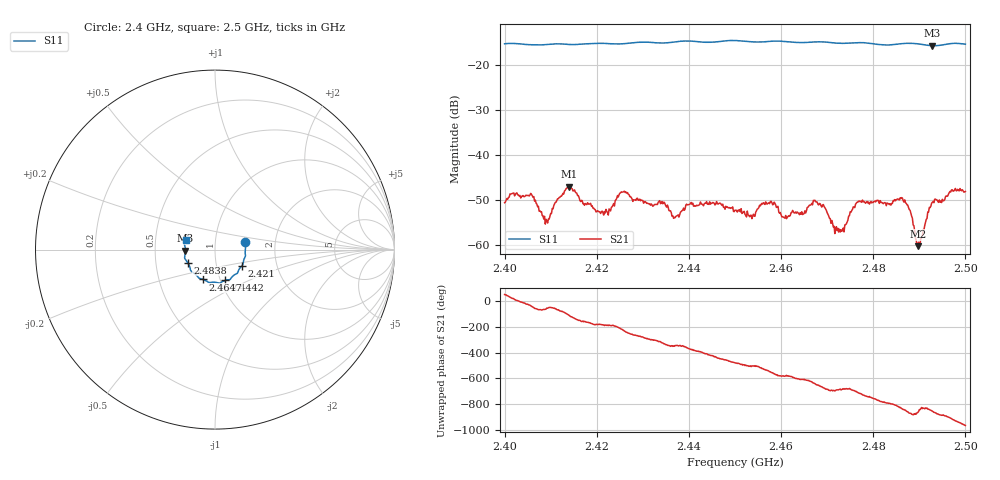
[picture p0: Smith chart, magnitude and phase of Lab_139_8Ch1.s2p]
# Hz S RI R 50
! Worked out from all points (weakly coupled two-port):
!   601 points, 2.4 GHz to 2.5 GHz, reference 50 ohm
!   highest |S21| = -47.01 dB at 2.414 GHz (marker M1); lowest = -60.3 dB at 2.4897 GHz (marker M2)
!   lowest |S11| = -15.6 dB at 2.4928 GHz (marker M3), VSWR 1.40, Z = 35.8 - j0.417 ohm
!   |S11| at or under -10 dB: start of sweep to end of sweep
!   S12 and S22 are empty: the file has one direction only
!   S11 on the Smith chart (normalised r, x): 2.4 GHz: 1.40, +0.12; 2.421 GHz: 1.33, -0.24; 2.4442 GHz: 1.05, -0.37; 2.4647 GHz: 0.83, -0.29; 2.4838 GHz: 0.73, -0.11; 2.5 GHz: 0.71, +0.08
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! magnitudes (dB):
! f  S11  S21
! 2.4 GHz  -15.2  -50.6
! 2.4058 GHz  -15.4  -48.7
! 2.4093 GHz  -15.3  -55.1
! 2.414 GHz  -15.4  -47.0
! 2.4167 GHz  -15.3  -50.1
! 2.421 GHz  -15.1  -52.6
! 2.4255 GHz  -15.2  -48.2
! 2.4333 GHz  -15.0  -50.5
! 2.4368 GHz  -14.8  -53.9
! 2.4442 GHz  -14.9  -50.8
! 2.45 GHz  -14.5  -52.2
! 2.4575 GHz  -14.7  -50.8
! 2.4647 GHz  -14.9  -53.2
! 2.4667 GHz  -14.8  -50.7
! 2.4727 GHz  -15.1  -56.5
! 2.4768 GHz  -15.0  -50.2
! 2.4833 GHz  -15.5  -50.8
! 2.4838 GHz  -15.5  -51.1
! 2.4873 GHz  -15.1  -51.1
! 2.4897 GHz  -15.2  -60.3
! 2.4928 GHz  -15.6  -50.5
! 2.5 GHz  -15.3  -48.1
